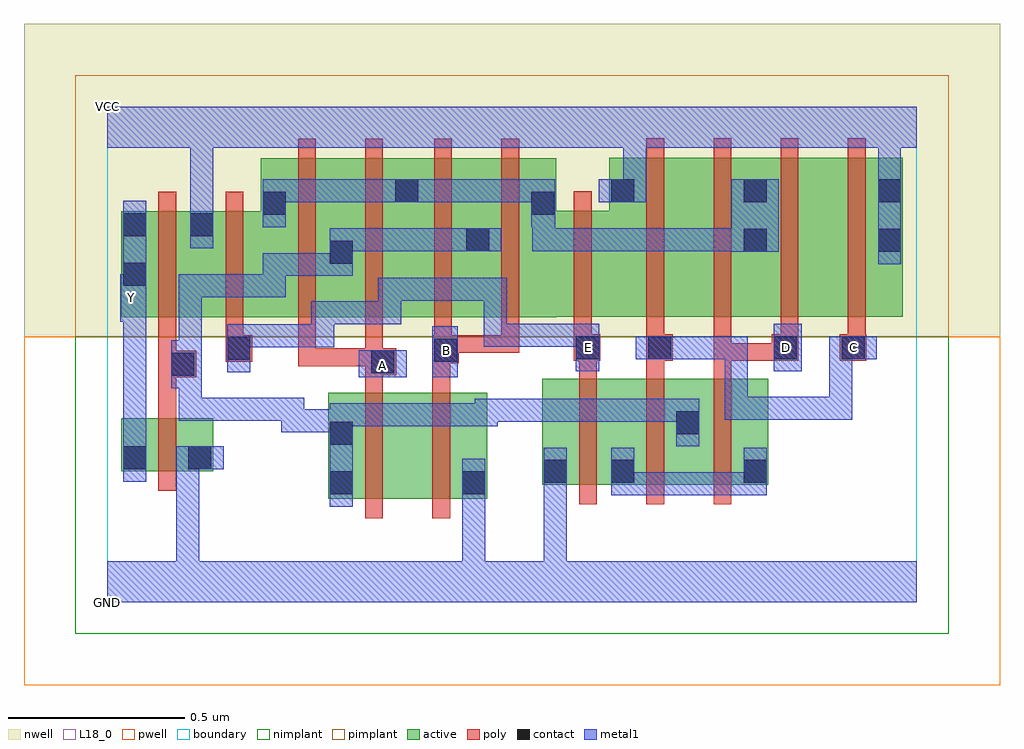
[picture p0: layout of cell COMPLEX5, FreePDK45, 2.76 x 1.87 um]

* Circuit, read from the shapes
.subckt COMPLEX5 A B C D E GND VCC Y
M1 GND n1 Y VSUBS nfet w=0.15u l=0.05u
M2 n2 A n1 VSUBS nfet w=0.3u l=0.05u
M3 GND B n2 VSUBS nfet w=0.3u l=0.05u
M4 n3 E GND VSUBS nfet w=0.3u l=0.05u
M5 n1 C n3 VSUBS nfet w=0.3u l=0.05u
M6 n3 D n1 VSUBS nfet w=0.3u l=0.05u
M7 VCC n1 Y n4 pfet w=0.3u l=0.05u
M8 n5 E VCC n4 pfet w=0.3u l=0.05u m=2
M9 n1 A n5 n4 pfet w=0.45u l=0.05u m=2
M10 n1 B n5 n4 pfet w=0.45u l=0.05u m=2
M11 n6 C VCC n4 pfet w=0.45u l=0.05u
M12 n5 D n6 n4 pfet w=0.45u l=0.05u
M13 n7 D n5 n4 pfet w=0.45u l=0.05u
M14 VCC C n7 n4 pfet w=0.45u l=0.05u
.ends

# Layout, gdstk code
import gdstk
lib = gdstk.Library(unit=1e-6, precision=1e-09)
def R(c, l, rs):  # rectangles x0, y0, x1, y1
    for r in rs: c.add(gdstk.rectangle(r[:2], r[2:], *l))
def A(c, l, x, y, w, h, nx, ny, dx, dy):  # array of equal rectangles
    R(c, l, [(x+i*dx, y+j*dy, x+i*dx+w, y+j*dy+h) for i in range(nx) for j in range(ny)])
active = (1, 0)
pwell = (2, 0)
nwell = (3, 0)
nimplant = (4, 0)
pimplant = (5, 0)
poly = (9, 0)
contact = (10, 0)
metal1 = (11, 0)
L18_0 = (18, 0)
boundary = (235, 0)

complex5 = lib.new_cell('COMPLEX5')
R(complex5, active, [(0.625,0.292,0.85,0.592), (0.85,0.292,1.075,0.592), (1,0.292,1.075,0.547), (0.625,0.3,0.7,0.592), (1.23,0.332,1.495,0.632), (1.23,0.332,1.305,0.547), (1.42,0.332,1.68,0.632), (1.42,0.332,1.495,0.547), (1.605,0.332,1.87,0.632), (1.795,0.332,1.87,0.632), (0.04,0.37,0.3,0.52), (0.04,0.37,0.115,0.52), (0.225,0.37,0.3,0.445), (1.605,0.382,1.68,0.545), (0.04,0.805,0.115,1.105), (0.04,0.805,0.305,1.105), (0.23,0.805,0.305,1.105), (0.23,0.805,0.51,1.105), (0.435,0.805,0.7,1.255), (0.435,0.805,0.51,1.2), (0.625,0.805,0.885,1.255), (0.625,0.805,0.7,1.07), (0.81,0.805,1.085,1.255), (1.01,0.805,1.27,1.255), (1.01,0.805,1.085,1.07), (1.195,0.807,1.495,1.107), (1.42,0.807,1.645,1.257), (1.645,0.807,1.87,1.257), (1.795,0.807,2.025,1.257), (1.795,0.807,1.87,1.2), (2.025,0.807,2.25,1.257), (2.175,0.807,2.25,1.257), (0.81,0.857,0.885,1.2), (1.195,1.007,1.27,1.2), (1.42,1.007,1.495,1.2)])
R(complex5, pwell, [(-0.235,-0.235,2.525,0.75)])
R(complex5, nwell, [(-0.235,0.75,2.525,1.635)])
R(complex5, nimplant, [(-0.09,-0.09,2.38,0.75)])
R(complex5, pimplant, [(-0.09,0.75,2.38,1.49)])
A(complex5, poly, 1.335, 0.277, 0.05, 0.41, 3, 1, 0.19, 0)
A(complex5, poly, 1.335, 0.637, 0.05, 0.095, 3, 1, 0.19, 0)
A(complex5, poly, 1.525, 0.752, 0.05, 0.56, 4, 1, 0.19, 0)
R(complex5, poly, [(0.73,0.237,0.78,0.647), (0.92,0.237,0.97,0.647), (0.145,0.315,0.195,0.575), (0.145,0.525,0.195,0.685), (0.73,0.597,0.78,0.692), (0.92,0.597,0.97,0.725), (0.145,0.635,0.252,0.71), (0.73,0.642,0.817,0.717), (0.145,0.66,0.195,0.8), (0.54,0.667,0.59,0.717), (0.54,0.667,0.59,0.8), (0.54,0.667,0.78,0.717), (0.73,0.667,0.78,0.717), (0.73,0.667,0.78,0.717), (0.73,0.667,0.78,0.8), (0.92,0.675,0.995,0.755), (0.335,0.68,0.41,0.755), (1.32,0.682,1.395,0.757), (1.525,0.682,1.6,0.757), (1.715,0.682,1.765,0.732), (1.715,0.682,1.93,0.732), (1.715,0.682,1.765,0.802), (1.88,0.682,1.955,0.757), (1.88,0.682,1.93,0.732), (1.88,0.682,1.93,0.732), (2.072,0.682,2.147,0.757), (0.335,0.705,0.385,0.8), (0.925,0.705,0.975,0.8), (0.945,0.705,1.165,0.755), (1.115,0.705,1.165,0.8), (1.115,0.705,1.165,0.755), (1.115,0.705,1.165,0.755), (1.115,0.705,1.165,0.755), (1.32,0.707,1.37,0.802), (1.525,0.707,1.575,0.802), (1.905,0.707,1.955,0.802), (2.095,0.707,2.145,0.802), (0.145,0.75,0.195,1.16), (0.335,0.75,0.385,1.16), (0.54,0.75,0.59,1.31), (0.73,0.75,0.78,1.31), (0.925,0.75,0.975,1.31), (1.115,0.75,1.165,1.31), (1.32,0.752,1.37,1.162)])
R(complex5, contact, [(0.63,0.305,0.695,0.37), (1.005,0.305,1.07,0.37), (1.235,0.337,1.3,0.402), (1.425,0.337,1.49,0.402), (1.8,0.337,1.865,0.402), (0.045,0.375,0.11,0.44), (0.23,0.375,0.295,0.44), (0.63,0.445,0.695,0.51), (1.61,0.475,1.675,0.54), (0.182,0.64,0.247,0.705), (0.747,0.647,0.812,0.712), (0.925,0.68,0.99,0.745), (0.34,0.685,0.405,0.75), (1.325,0.687,1.39,0.752), (1.53,0.687,1.595,0.752), (1.885,0.687,1.95,0.752), (2.077,0.687,2.142,0.752), (0.045,0.895,0.11,0.96), (0.63,0.957,0.695,1.022), (1.8,0.99,1.865,1.055), (2.18,0.99,2.245,1.055), (1.015,0.992,1.08,1.057), (0.045,1.035,0.11,1.1), (0.235,1.035,0.3,1.1), (0.44,1.095,0.505,1.16), (1.2,1.095,1.265,1.16), (0.815,1.13,0.88,1.195), (1.425,1.13,1.49,1.195), (1.8,1.13,1.865,1.195), (2.18,1.13,2.245,1.195)])
R(complex5, metal1, [(0,0,2.29,0.115), (0.195,0.05,0.26,0.115), (0.195,0.05,0.26,0.115), (0.195,0.05,0.26,0.44), (1.005,0.05,1.07,0.115), (1.005,0.05,1.07,0.115), (1.005,0.05,1.07,0.115), (1.005,0.05,1.07,0.115), (1.005,0.05,1.07,0.335), (1.235,0.05,1.3,0.367), (0.63,0.27,0.695,0.545), (1.005,0.27,1.07,0.405), (1.235,0.302,1.3,0.367), (1.235,0.302,1.3,0.367), (1.235,0.302,1.3,0.367), (1.235,0.302,1.3,0.367), (1.235,0.302,1.3,0.437), (1.425,0.302,1.49,0.437), (1.425,0.302,1.675,0.367), (1.61,0.302,1.675,0.367), (1.61,0.302,1.675,0.367), (1.61,0.302,1.675,0.367), (1.61,0.302,1.812,0.367), (1.747,0.302,1.812,0.367), (1.747,0.302,1.865,0.367), (1.8,0.302,1.865,0.437), (0.045,0.34,0.11,0.475), (0.195,0.375,0.26,0.44), (0.195,0.375,0.26,0.44), (0.195,0.375,0.26,0.44), (0.195,0.375,0.26,0.44), (0.195,0.375,0.33,0.44), (0.045,0.41,0.11,0.857), (1.61,0.44,1.675,0.575), (0.492,0.48,0.695,0.545), (0.492,0.48,0.557,0.577), (0.63,0.48,0.695,0.545), (0.63,0.48,0.695,0.562), (0.63,0.497,0.832,0.562), (0.767,0.497,0.832,0.562), (0.767,0.497,1.105,0.562), (1.04,0.497,1.105,0.562), (1.04,0.497,1.105,0.562), (1.04,0.497,1.105,0.575), (1.04,0.51,1.252,0.575), (1.187,0.51,1.252,0.575), (1.187,0.51,1.267,0.575), (1.202,0.51,1.267,0.575), (1.202,0.51,1.405,0.575), (1.34,0.51,1.405,0.575), (1.34,0.51,1.405,0.575), (1.34,0.51,1.405,0.575), (1.34,0.51,1.675,0.575), (1.61,0.51,1.675,0.575), (1.61,0.51,1.675,0.575), (0.202,0.512,0.267,0.577), (0.202,0.512,0.405,0.577), (0.202,0.512,0.267,0.67), (0.34,0.512,0.405,0.577), (0.34,0.512,0.405,0.577), (0.34,0.512,0.405,0.577), (0.34,0.512,0.557,0.577), (1.747,0.515,1.812,0.58), (1.747,0.515,1.812,0.752), (1.747,0.515,1.95,0.58), (1.885,0.515,1.95,0.58), (1.885,0.515,2.107,0.58), (2.042,0.515,2.107,0.58), (2.042,0.515,2.107,0.752), (0.182,0.605,0.247,0.74), (0.182,0.605,0.267,0.67), (0.202,0.605,0.267,0.67), (0.202,0.605,0.267,0.927), (0.712,0.635,0.847,0.712), (0.92,0.635,0.992,0.78), (0.34,0.65,0.405,0.785), (1.325,0.652,1.392,0.787), (1.885,0.652,1.965,0.787), (1.495,0.687,1.63,0.752), (1.565,0.687,1.63,0.752), (1.565,0.687,1.63,0.752), (1.565,0.687,1.812,0.752), (1.747,0.687,1.812,0.752), (1.747,0.687,1.812,0.752), (1.747,0.687,1.812,0.752), (2.042,0.687,2.107,0.752), (2.042,0.687,2.107,0.752), (2.042,0.687,2.177,0.752), (0.34,0.72,0.405,0.785), (0.34,0.72,0.405,0.785), (0.34,0.72,0.542,0.785), (0.477,0.72,0.542,0.785), (0.477,0.72,0.642,0.785), (0.577,0.72,0.642,0.785), (0.577,0.72,0.642,0.85), (1.065,0.722,1.13,0.787), (1.065,0.722,1.252,0.787), (1.065,0.722,1.13,0.917), (1.187,0.722,1.252,0.787), (1.187,0.722,1.267,0.787), (1.202,0.722,1.267,0.787), (1.202,0.722,1.39,0.787), (0.577,0.785,0.642,0.85), (0.577,0.785,0.832,0.85), (0.767,0.785,0.832,0.85), (0.767,0.785,0.832,0.85), (0.767,0.785,0.832,0.917), (0.037,0.792,0.11,0.927), (0.767,0.852,1.105,0.917), (1.04,0.852,1.105,0.917), (1.04,0.852,1.13,0.917), (1.065,0.852,1.13,0.917), (0.045,0.86,0.11,1.135), (0.045,0.86,0.11,0.925), (0.202,0.862,0.267,0.927), (0.202,0.862,0.405,0.927), (0.34,0.862,0.405,0.927), (0.34,0.862,0.505,0.927), (0.44,0.862,0.505,0.927), (0.44,0.862,0.505,0.987), (0.44,0.922,0.505,0.987), (0.44,0.922,0.542,0.987), (0.477,0.922,0.542,0.987), (0.477,0.922,0.695,0.987), (0.63,0.922,0.695,1.057), (2.18,0.955,2.245,1.23), (1.765,0.99,1.9,1.195), (0.63,0.992,0.847,1.057), (0.782,0.992,0.847,1.057), (0.782,0.992,0.847,1.057), (0.782,0.992,0.847,1.057), (0.782,0.992,1.045,1.057), (0.98,0.992,1.045,1.057), (0.98,0.992,1.045,1.057), (0.98,0.992,1.115,1.057), (1.202,0.992,1.267,1.057), (1.202,0.992,1.422,1.057), (1.202,0.992,1.267,1.125), (1.357,0.992,1.422,1.057), (1.357,0.992,1.422,1.057), (1.357,0.992,1.422,1.057), (1.357,0.992,1.627,1.057), (1.562,0.992,1.627,1.057), (1.562,0.992,1.627,1.057), (1.562,0.992,1.627,1.057), (1.562,0.992,1.812,1.057), (1.747,0.992,1.812,1.057), (1.747,0.992,1.83,1.057), (0.235,1,0.3,1.135), (0.44,1.06,0.505,1.195), (1.2,1.06,1.267,1.195), (1.202,1.06,1.267,1.125), (1.202,1.06,1.267,1.125), (0.235,1.07,0.3,1.35), (0.44,1.13,0.557,1.195), (0.492,1.13,0.557,1.195), (0.492,1.13,0.695,1.195), (0.63,1.13,0.695,1.195), (0.63,1.13,0.845,1.195), (0.78,1.13,0.845,1.195), (0.78,1.13,0.845,1.195), (0.78,1.13,0.915,1.195), (0.85,1.13,1.052,1.195), (0.987,1.13,1.052,1.195), (0.987,1.13,1.052,1.195), (0.987,1.13,1.052,1.195), (0.987,1.13,1.242,1.195), (1.177,1.13,1.242,1.195), (1.177,1.13,1.265,1.195), (1.39,1.13,1.525,1.195), (1.46,1.13,1.525,1.35), (2.18,1.165,2.245,1.35), (0,1.285,2.29,1.4), (0.235,1.285,0.3,1.35), (0.235,1.285,0.3,1.35)])
R(complex5, L18_0, [(0,0,2.29,0.115), (0.195,0.05,0.26,0.115), (0.195,0.05,0.26,0.115), (0.195,0.05,0.26,0.44), (1.005,0.05,1.07,0.115), (1.005,0.05,1.07,0.115), (1.005,0.05,1.07,0.115), (1.005,0.05,1.07,0.115), (1.005,0.05,1.07,0.335), (1.235,0.05,1.3,0.367), (1.005,0.27,1.07,0.405), (1.235,0.302,1.3,0.437), (1.235,0.302,1.3,0.367), (1.235,0.302,1.3,0.367), (1.235,0.302,1.3,0.367), (1.235,0.302,1.3,0.367), (0.045,0.34,0.11,0.475), (0.195,0.375,0.26,0.44), (0.195,0.375,0.26,0.44), (0.195,0.375,0.26,0.44), (0.195,0.375,0.26,0.44), (0.195,0.375,0.33,0.44), (0.045,0.41,0.11,0.857), (1.747,0.515,1.812,0.58), (1.747,0.515,1.812,0.752), (1.747,0.515,1.95,0.58), (1.885,0.515,1.95,0.58), (1.885,0.515,2.107,0.58), (2.042,0.515,2.107,0.58), (2.042,0.515,2.107,0.752), (0.712,0.635,0.847,0.712), (0.92,0.635,0.992,0.78), (0.747,0.637,0.812,0.702), (0.34,0.65,0.405,0.785), (1.325,0.652,1.392,0.787), (1.885,0.652,1.965,0.787), (0.927,0.677,0.992,0.742), (1.327,0.687,1.392,0.752), (1.495,0.687,1.63,0.752), (1.565,0.687,1.63,0.752), (1.565,0.687,1.63,0.752), (1.565,0.687,1.812,0.752), (1.747,0.687,1.812,0.752), (1.747,0.687,1.812,0.752), (1.747,0.687,1.812,0.752), (1.887,0.687,1.952,0.752), (2.042,0.687,2.107,0.752), (2.042,0.687,2.107,0.752), (2.042,0.687,2.177,0.752), (2.077,0.687,2.142,0.752), (0.34,0.72,0.405,0.785), (0.34,0.72,0.405,0.785), (0.34,0.72,0.542,0.785), (0.477,0.72,0.542,0.785), (0.477,0.72,0.642,0.785), (0.577,0.72,0.642,0.785), (0.577,0.72,0.642,0.85), (1.065,0.722,1.13,0.787), (1.065,0.722,1.13,0.917), (1.065,0.722,1.252,0.787), (1.187,0.722,1.252,0.787), (1.187,0.722,1.267,0.787), (1.202,0.722,1.267,0.787), (1.202,0.722,1.39,0.787), (0.577,0.785,0.642,0.85), (0.577,0.785,0.832,0.85), (0.767,0.785,0.832,0.85), (0.767,0.785,0.832,0.85), (0.767,0.785,0.832,0.917), (0.037,0.792,0.11,0.927), (0.037,0.827,0.102,0.892), (0.767,0.852,1.105,0.917), (1.04,0.852,1.105,0.917), (1.04,0.852,1.13,0.917), (1.065,0.852,1.13,0.917), (0.045,0.86,0.11,1.135), (0.045,0.86,0.11,0.925), (2.18,0.955,2.245,1.23), (0.235,1,0.3,1.135), (0.235,1.07,0.3,1.35), (1.39,1.13,1.525,1.195), (1.46,1.13,1.525,1.35), (2.18,1.165,2.245,1.35), (0,1.285,2.29,1.4), (0.235,1.285,0.3,1.35), (0.235,1.285,0.3,1.35)])
R(complex5, boundary, [(0,0,2.29,1.4)])
complex5.add(gdstk.Label('A', (0.78,0.67), layer=11, texttype=0))
complex5.add(gdstk.Label('B', (0.96,0.71), layer=11, texttype=0))
complex5.add(gdstk.Label('C', (2.11,0.72), layer=11, texttype=0))
complex5.add(gdstk.Label('D', (1.92,0.72), layer=11, texttype=0))
complex5.add(gdstk.Label('E', (1.36,0.72), layer=11, texttype=0))
complex5.add(gdstk.Label('Y', (0.07,0.86), layer=11, texttype=0))
complex5.add(gdstk.Label('VCC', (0,1.4), layer=11, texttype=0))
complex5.add(gdstk.Label('GND', (0,0), layer=11, texttype=0))

lib.write_gds('COMPLEX5.gds')
